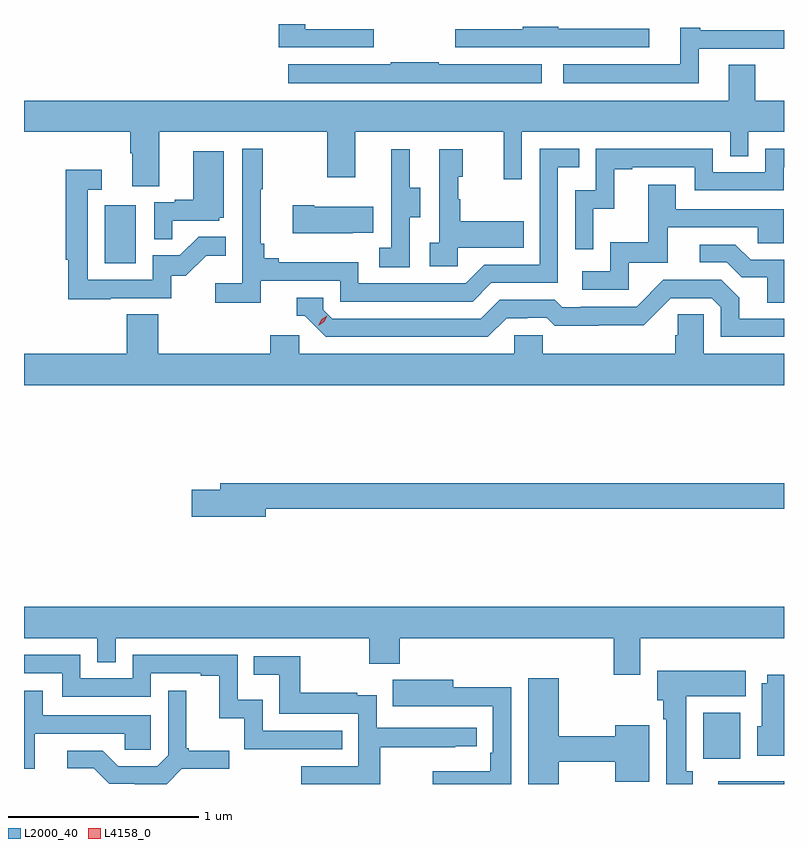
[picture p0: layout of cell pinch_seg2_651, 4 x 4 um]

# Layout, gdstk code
import gdstk
lib = gdstk.Library(unit=1e-6, precision=1e-09)
def R(c, l, rs):  # rectangles x0, y0, x1, y1
    for r in rs: c.add(gdstk.rectangle(r[:2], r[2:], *l))
def P(c, l, *ps):  # polygons
    for p in ps: c.add(gdstk.Polygon(p, *l))
L2000_40 = (2000, 40)
L4158_0 = (4158, 0)

pinch_seg2_651 = lib.new_cell('pinch_seg2_651')
R(pinch_seg2_651, L2000_40, [(1049.225,584.264,1049.57,584.278), (1049.144,584.396,1049.341,584.638), (1045.994,587.004,1046.158,587.311)])
P(pinch_seg2_651, L2000_40, [(1047.412,588.237),(1047.051,588.237),(1047.051,588.264),(1046.912,588.264),(1046.912,588.141),(1047.412,588.141)],
  [(1048.861,588.238),(1048.382,588.238),(1048.382,588.25),(1048.195,588.25),(1048.195,588.237),(1047.84,588.237),(1047.84,588.141),(1048.861,588.141)],
  [(1049.122,588.135),(1049.57,588.135),(1049.57,588.231),(1049.128,588.231),(1049.128,588.244),(1049.024,588.244),(1049.024,588.052),(1048.407,588.052),(1048.407,587.951),(1049.122,587.951)],
  [(1048.294,588.052),(1047.752,588.052),(1047.752,588.062),(1047.499,588.062),(1047.499,588.052),(1046.961,588.052),(1046.961,587.951),(1048.294,587.951)],
  [(1046.281,587.696),(1047.166,587.696),(1047.166,587.457),(1047.313,587.457),(1047.313,587.696),(1048.094,587.696),(1048.094,587.448),(1048.191,587.448),(1048.191,587.696),(1049.286,587.696),(1049.286,587.569),(1049.382,587.569),(1049.382,587.696),(1049.57,587.696),(1049.57,587.86),(1049.419,587.86),(1049.419,588.05),(1049.279,588.05),(1049.279,587.86),(1045.57,587.86),(1045.57,587.696),(1046.129,587.696),(1046.129,587.584),(1046.141,587.584),(1046.141,587.41),(1046.281,587.41)],
  [(1046.816,586.914),(1047.234,586.914),(1047.234,586.803),(1047.931,586.803),(1048.03,586.902),(1048.38,586.902),(1048.38,587.511),(1048.493,587.511),(1048.493,587.607),(1048.284,587.607),(1048.284,586.998),(1047.993,586.998),(1047.894,586.899),(1047.33,586.899),(1047.33,587.011),(1046.911,587.011),(1046.911,587.03),(1046.834,587.03),(1046.834,587.107),(1046.815,587.107),(1046.815,587.395),(1046.827,587.395),(1046.827,587.608),(1046.718,587.608),(1046.718,586.9),(1046.577,586.9),(1046.577,586.798),(1046.816,586.798)],
  [(1048.566,587.291),(1048.676,587.291),(1048.676,587.499),(1048.771,587.499),(1048.771,587.511),(1049.1,587.511),(1049.1,587.388),(1049.568,587.388),(1049.568,587.511),(1049.57,587.511),(1049.57,587.607),(1049.472,587.607),(1049.472,587.484),(1049.196,587.484),(1049.196,587.607),(1048.578,587.607),(1048.578,587.388),(1048.47,587.388),(1048.47,587.079),(1048.566,587.079)],
  [(1047.6,587.248),(1047.655,587.248),(1047.655,587.403),(1047.601,587.403),(1047.601,587.605),(1047.503,587.605),(1047.503,587.391),(1047.504,587.391),(1047.504,587.087),(1047.441,587.087),(1047.441,586.984),(1047.6,586.984)],
  [(1047.852,587.087),(1048.199,587.087),(1048.199,587.227),(1047.865,587.227),(1047.865,587.342),(1047.855,587.342),(1047.855,587.46),(1047.88,587.46),(1047.88,587.605),(1047.756,587.605),(1047.756,587.114),(1047.705,587.114),(1047.705,586.989),(1047.852,586.989)],
  [(1046.351,587.229),(1046.598,587.229),(1046.598,587.244),(1046.62,587.244),(1046.62,587.593),(1046.462,587.593),(1046.462,587.338),(1046.363,587.338),(1046.363,587.325),(1046.256,587.325),(1046.256,587.131),(1046.351,587.131)],
  [(1046.027,586.821),(1046.346,586.821),(1046.346,586.938),(1046.422,586.938),(1046.529,587.045),(1046.633,587.045),(1046.633,587.144),(1046.489,587.144),(1046.391,587.046),(1046.247,587.046),(1046.247,586.917),(1045.905,586.917),(1045.905,587.391),(1045.978,587.391),(1045.978,587.497),(1045.789,587.497),(1045.789,587.024),(1045.804,587.024),(1045.804,586.816),(1046.027,586.816)],
  [(1048.752,587.007),(1048.957,587.007),(1048.957,587.193),(1049.431,587.193),(1049.431,587.109),(1049.568,587.109),(1049.568,587.289),(1048.999,587.289),(1048.999,587.419),(1048.855,587.419),(1048.855,587.116),(1048.656,587.116),(1048.656,586.962),(1048.509,586.962),(1048.509,586.866),(1048.752,586.866)],
  [(1047.299,587.165),(1047.407,587.165),(1047.407,587.302),(1047.097,587.302),(1047.097,587.31),(1046.985,587.31),(1046.985,587.162),(1047.299,587.162)],
  [(1049.57,587.022),(1049.395,587.022),(1049.314,587.103),(1049.127,587.103),(1049.127,587.01),(1049.268,587.01),(1049.348,586.93),(1049.483,586.93),(1049.483,586.798),(1049.57,586.798)],
  [(1048.111,586.716),(1048.218,586.716),(1048.218,586.719),(1048.321,586.719),(1048.363,586.677),(1048.596,586.677),(1048.596,586.679),(1048.832,586.679),(1048.974,586.821),(1049.19,586.821),(1049.238,586.773),(1049.238,586.617),(1049.57,586.617),(1049.57,586.713),(1049.335,586.713),(1049.335,586.823),(1049.241,586.917),(1048.935,586.917),(1048.794,586.776),(1048.501,586.776),(1048.501,586.773),(1048.402,586.773),(1048.363,586.812),(1048.074,586.812),(1047.975,586.713),(1047.192,586.713),(1047.144,586.761),(1047.144,586.824),(1047.005,586.824),(1047.005,586.728),(1047.048,586.728),(1047.159,586.617),(1048.012,586.617)],
  [(1049.57,586.528),(1049.148,586.528),(1049.148,586.736),(1049.011,586.736),(1049.011,586.626),(1048.997,586.626),(1048.997,586.528),(1048.299,586.528),(1048.299,586.626),(1048.149,586.626),(1048.149,586.528),(1047.018,586.528),(1047.018,586.626),(1046.867,586.626),(1046.867,586.528),(1046.276,586.528),(1046.276,586.736),(1046.111,586.736),(1046.111,586.528),(1045.57,586.528),(1045.57,586.364),(1049.57,586.364)],
  [(1046.842,585.712),(1049.57,585.712),(1049.57,585.848),(1046.603,585.848),(1046.603,585.812),(1046.454,585.812),(1046.454,585.67),(1046.842,585.67)],
  [(1048.813,585.032),(1049.57,585.032),(1049.57,585.196),(1045.57,585.196),(1045.57,585.032),(1045.956,585.032),(1045.956,584.905),(1046.052,584.905),(1046.052,585.032),(1047.388,585.032),(1047.388,584.897),(1047.548,584.897),(1047.548,585.032),(1048.673,585.032),(1048.673,584.838),(1048.813,584.838)],
  [(1047.245,584.544),(1046.826,584.544),(1046.826,584.707),(1046.694,584.707),(1046.694,584.943),(1046.142,584.943),(1046.142,584.82),(1045.866,584.82),(1045.866,584.943),(1045.57,584.943),(1045.57,584.847),(1045.77,584.847),(1045.77,584.724),(1046.238,584.724),(1046.238,584.847),(1046.501,584.847),(1046.501,584.835),(1046.597,584.835),(1046.597,584.609),(1046.73,584.609),(1046.73,584.448),(1047.245,584.448)],
  [(1047.446,584.458),(1047.839,584.458),(1047.839,584.463),(1047.952,584.463),(1047.952,584.559),(1047.426,584.559),(1047.426,584.731),(1047.323,584.731),(1047.323,584.743),(1047.025,584.743),(1047.025,584.937),(1046.779,584.937),(1046.779,584.84),(1046.914,584.84),(1046.914,584.634),(1047.33,584.634),(1047.33,584.358),(1047.029,584.358),(1047.029,584.264),(1047.446,584.264)],
  [(1049.089,584.33),(1049.056,584.33),(1049.056,584.726),(1049.368,584.726),(1049.368,584.86),(1048.904,584.86),(1048.904,584.706),(1048.934,584.706),(1048.934,584.606),(1048.949,584.606),(1048.949,584.264),(1049.089,584.264)],
  [(1049.57,584.839),(1049.483,584.839),(1049.483,584.794),(1049.453,584.794),(1049.453,584.568),(1049.429,584.568),(1049.429,584.414),(1049.57,584.414)],
  [(1048.384,584.38),(1048.682,584.38),(1048.682,584.276),(1048.861,584.276),(1048.861,584.572),(1048.682,584.572),(1048.682,584.516),(1048.384,584.516),(1048.384,584.821),(1048.223,584.821),(1048.223,584.264),(1048.384,584.264)],
  [(1048.134,584.774),(1047.829,584.774),(1047.829,584.812),(1047.511,584.812),(1047.511,584.672),(1047.725,584.672),(1047.725,584.673),(1048.038,584.673),(1048.038,584.428),(1048.025,584.428),(1048.025,584.332),(1047.72,584.332),(1047.72,584.264),(1048.134,584.264)],
  [(1046.4,584.343),(1046.65,584.343),(1046.65,584.44),(1046.437,584.44),(1046.437,584.452),(1046.425,584.452),(1046.425,584.755),(1046.328,584.755),(1046.328,584.415),(1046.271,584.358),(1046.065,584.358),(1045.984,584.439),(1045.797,584.439),(1045.797,584.346),(1045.938,584.346),(1046.018,584.266),(1046.153,584.266),(1046.153,584.264),(1046.321,584.264)],
  [(1045.627,584.529),(1046.101,584.529),(1046.101,584.445),(1046.238,584.445),(1046.238,584.625),(1045.669,584.625),(1045.669,584.755),(1045.57,584.755),(1045.57,584.343),(1045.627,584.343)])
P(pinch_seg2_651, L4158_0, [(1047.119,586.676),(1047.119,586.677),(1047.136,586.709),(1047.167,586.728),(1047.167,586.728),(1047.167,586.728),(1047.15,586.696),(1047.119,586.676)])

lib.write_gds('pinch_seg2_651.gds')
